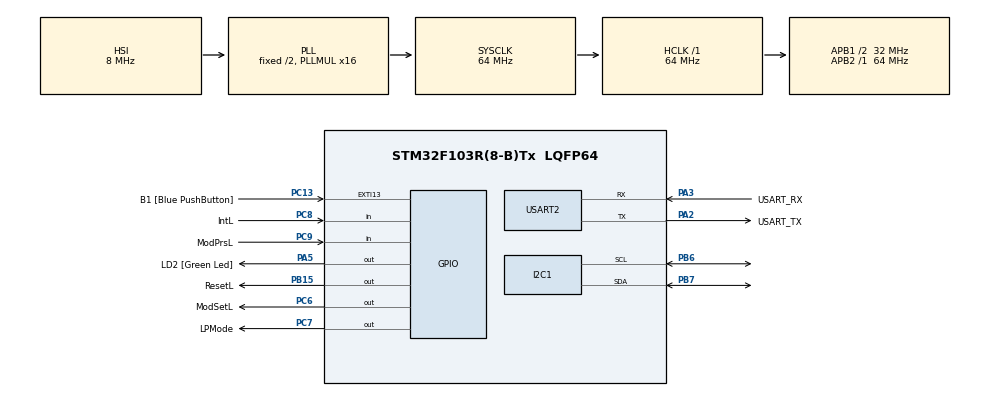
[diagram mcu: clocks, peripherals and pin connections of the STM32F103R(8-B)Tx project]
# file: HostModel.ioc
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Mcu.Family=STM32F1
Mcu.Name=STM32F103R(8-B)Tx
Mcu.Package=LQFP64
NVIC.EXTI15_10_IRQn=true\:0\:0\:false\:false\:true
NVIC.PriorityGroup=NVIC_PRIORITYGROUP_4
PA13.GPIO_Label=TMS
PA13.Mode=Serial_Wire
PA13.Signal=SYS_JTMS-SWDIO
PA14.GPIO_Label=TCK
PA14.Mode=Serial_Wire
PA14.Signal=SYS_JTCK-SWCLK
PA2.GPIO_Label=USART_TX
PA2.GPIO_Mode=GPIO_MODE_AF_PP
PA2.GPIO_PuPd=GPIO_NOPULL
PA2.GPIO_Speed=GPIO_SPEED_FREQ_LOW
PA2.Mode=Asynchronous
PA2.Signal=USART2_TX
PA3.GPIO_Label=USART_RX
PA3.GPIO_Mode=GPIO_MODE_AF_PP
PA3.GPIO_PuPd=GPIO_NOPULL
PA3.GPIO_Speed=GPIO_SPEED_FREQ_LOW
PA3.Mode=Asynchronous
PA3.Signal=USART2_RX
PA5.GPIO_Label=LD2 [Green Led]
PA5.GPIO_ModeDefaultOutputPP=GPIO_MODE_OUTPUT_PP
PA5.GPIO_PuPd=GPIO_NOPULL
PA5.GPIO_Speed=GPIO_SPEED_FREQ_LOW
PA5.Signal=GPIO_Output
PB15.GPIO_Label=ResetL
PB15.PinState=GPIO_PIN_SET
PB15.Signal=GPIO_Output
PB3.GPIO_Label=SWO
PB3.Signal=SYS_JTDO-TRACESWO
PB6.Mode=I2C
PB6.Signal=I2C1_SCL
PB7.Mode=I2C
PB7.Signal=I2C1_SDA
PC13-TAMPER-RTC.GPIO_Label=B1 [Blue PushButton]
PC13-TAMPER-RTC.GPIO_PuPd=GPIO_NOPULL
PC13-TAMPER-RTC.Signal=GPXTI13
PC14-OSC32_IN.Mode=LSE-External-Oscillator
PC14-OSC32_IN.Signal=RCC_OSC32_IN
PC15-OSC32_OUT.Mode=LSE-External-Oscillator
PC15-OSC32_OUT.Signal=RCC_OSC32_OUT
PC6.GPIO_Label=ModSetL
PC6.Signal=GPIO_Output
PC7.GPIO_Label=LPMode
PC7.PinState=GPIO_PIN_RESET
PC7.Signal=GPIO_Output
PC8.GPIO_Label=IntL
PC8.GPIO_PuPd=GPIO_PULLUP
PC8.Signal=GPIO_Input
PC9.GPIO_Label=ModPrsL
PC9.GPIO_PuPd=GPIO_PULLUP
PC9.Signal=GPIO_Input
PD0-OSC_IN.Mode=HSE-External-Clock-Source
PD0-OSC_IN.Signal=RCC_OSC_IN
PD1-OSC_OUT.Mode=HSE-External-Clock-Source
PD1-OSC_OUT.Signal=RCC_OSC_OUT
ProjectManager.HeapSize=0x200
ProjectManager.StackSize=0x400
ProjectManager.TargetToolchain=MDK-ARM V5
RCC.AHBFreq_Value=64000000
RCC.APB1CLKDivider=RCC_HCLK_DIV2
RCC.APB1Freq_Value=32000000
RCC.APB1TimFreq_Value=64000000
RCC.APB2Freq_Value=64000000
RCC.APB2TimFreq_Value=64000000
RCC.HCLKFreq_Value=64000000
RCC.PLLMUL=RCC_PLL_MUL16
RCC.RTCClockSelection=RCC_RTCCLKSOURCE_LSE
RCC.SYSCLKFreq_VALUE=64000000
RCC.SYSCLKSource=RCC_SYSCLKSOURCE_PLLCLK
RCC.USBFreq_Value=64000000
USART2.VirtualMode=VM_ASYNC
board=NUCLEO-F103RB

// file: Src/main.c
/**
  ******************************************************************************
  * File Name          : main.c
  * Description        : Main program body
  ******************************************************************************
  ** This notice applies to any and all portions of this file
  * that are not between comment pairs USER CODE BEGIN and
  * USER CODE END. Other portions of this file, whether
  * inserted by the user or by software development tools
  * are owned by their respective copyright owners.
  *
  * COPYRIGHT(c) 2017 STMicroelectronics
  *
  * Redistribution and use in source and binary forms, with or without modification,
  * are permitted provided that the following conditions are met:
  *   1. Redistributions of source code must retain the above copyright notice,
  *      this list of conditions and the following disclaimer.
  *   2. Redistributions in binary form must reproduce the above copyright notice,
  *      this list of conditions and the following disclaimer in the documentation
  *      and/or other materials provided with the distribution.
  *   3. Neither the name of STMicroelectronics nor the names of its contributors
  *      may be used to endorse or promote products derived from this software
  *      without specific prior written permission.
  *
  * THIS SOFTWARE IS PROVIDED BY THE COPYRIGHT HOLDERS AND CONTRIBUTORS "AS IS"
  * AND ANY EXPRESS OR IMPLIED WARRANTIES, INCLUDING, BUT NOT LIMITED TO, THE
  * IMPLIED WARRANTIES OF MERCHANTABILITY AND FITNESS FOR A PARTICULAR PURPOSE ARE
  * DISCLAIMED. IN NO EVENT SHALL THE COPYRIGHT HOLDER OR CONTRIBUTORS BE LIABLE
  * FOR ANY DIRECT, INDIRECT, INCIDENTAL, SPECIAL, EXEMPLARY, OR CONSEQUENTIAL
  * DAMAGES (INCLUDING, BUT NOT LIMITED TO, PROCUREMENT OF SUBSTITUTE GOODS OR
  * SERVICES; LOSS OF USE, DATA, OR PROFITS; OR BUSINESS INTERRUPTION) HOWEVER
  * CAUSED AND ON ANY THEORY OF LIABILITY, WHETHER IN CONTRACT, STRICT LIABILITY,
  * OR TORT (INCLUDING NEGLIGENCE OR OTHERWISE) ARISING IN ANY WAY OUT OF THE USE
  * OF THIS SOFTWARE, EVEN IF ADVISED OF THE POSSIBILITY OF SUCH DAMAGE.
  *
  ******************************************************************************
  */
#include "main.h"
#include "stm32f1xx_hal.h"

I2C_HandleTypeDef hi2c1;

UART_HandleTypeDef huart2;

/* USER CODE BEGIN PV */
/* Private variables ---------------------------------------------------------*/
#define RXBUFFERSIZE 256
uint8_t aRxBuffer[RXBUFFERSIZE];
uint8_t Device_Address = 0xA1;
/* USER CODE END PV */

void SystemClock_Config(void);
static void MX_GPIO_Init(void);
static void MX_USART2_UART_Init(void);
static void MX_I2C1_Init(void);

/* USER CODE BEGIN PFP */
/* Private function prototypes -----------------------------------------------*/
int  fputc(int ch, FILE *f);
void Myscanf(char* stringPointer);                          //把输入的字符串复制到字符串 inputString 中
void I2CResponse(char* stringPointer);                      //根据字符串的内容对寄存器做读写操作并给予反馈
void ResetToNULL(char* stringPointer, int Length);          //清空字符串
void I2C_Read_Mode(char* stringPointer);                    //读取模式
void I2C_Write_Mode(char* stringPointer);                   //写入模式
void I2C_Memmap_Mode(void);                                 //Memmap 模式
void I2C_Init_LD_BM_Mode(void);
void I2C_Address_Change(char* stringPointer);
void I2C_ModSet(void);
void I2C_ModNSet(void);
void Module_Reset(void);
void IsModluePresent(void);
void IsintL(void);
/* USER CODE END PFP */

int main(void)
{

  /* MCU Configuration----------------------------------------------------------*/

  /* Reset of all peripherals, Initializes the Flash interface and the Systick. */
  HAL_Init();

  /* Configure the system clock */
  SystemClock_Config();

  /* Initialize all configured peripherals */
  MX_GPIO_Init();
  MX_USART2_UART_Init();
  MX_I2C1_Init();

  /* USER CODE BEGIN 2 */
  char inputString[32] = {""};
	printf("\n------------------------------------------------------------------------------------------------------------\n");
	printf("Welcoome to the debug mode for GN2010, input command from the terminal according to the format given below\n");
	printf("Read a register : r(space)(register address in decimal)(space)\n");
	printf("Write a register : w(space)(register address in decimal)(space)(written value in hexadecimal)(space)\n");
	printf("Print the Memory Map: m\n");
	printf("Initiate: i\n");
	printf("Change the memory address: a(space)(register address in hexadecimal)(space)\n");
	printf("------------------------------------------------------------------------------------------------------------\n");
  /* USER CODE END 2 */

  /* Infinite loop */
  /* USER CODE BEGIN WHILE */
  while (1)
  {
		Myscanf(inputString);
		I2CResponse(inputString);
		ResetToNULL(inputString,32);
  /* USER CODE END WHILE */

  }

}

/** System Clock Configuration
*/
void SystemClock_Config(void)
{

  RCC_OscInitTypeDef RCC_OscInitStruct;
  RCC_ClkInitTypeDef RCC_ClkInitStruct;

    /**Initializes the CPU, AHB and APB busses clocks
    */
  RCC_OscInitStruct.OscillatorType = RCC_OSCILLATORTYPE_HSI;
  RCC_OscInitStruct.HSIState = RCC_HSI_ON;
  RCC_OscInitStruct.HSICalibrationValue = 16;
  RCC_OscInitStruct.PLL.PLLState = RCC_PLL_ON;
  RCC_OscInitStruct.PLL.PLLSource = RCC_PLLSOURCE_HSI_DIV2;
  RCC_OscInitStruct.PLL.PLLMUL = RCC_PLL_MUL16;
  if (HAL_RCC_OscConfig(&RCC_OscInitStruct) != HAL_OK)
  {
    _Error_Handler(__FILE__, __LINE__);
  }

    /**Initializes the CPU, AHB and APB busses clocks
    */
  RCC_ClkInitStruct.ClockType = RCC_CLOCKTYPE_HCLK|RCC_CLOCKTYPE_SYSCLK
                              |RCC_CLOCKTYPE_PCLK1|RCC_CLOCKTYPE_PCLK2;
  RCC_ClkInitStruct.SYSCLKSource = RCC_SYSCLKSOURCE_PLLCLK;
  RCC_ClkInitStruct.AHBCLKDivider = RCC_SYSCLK_DIV1;
  RCC_ClkInitStruct.APB1CLKDivider = RCC_HCLK_DIV2;
  RCC_ClkInitStruct.APB2CLKDivider = RCC_HCLK_DIV1;

  if (HAL_RCC_ClockConfig(&RCC_ClkInitStruct, FLASH_LATENCY_2) != HAL_OK)
  {
    _Error_Handler(__FILE__, __LINE__);
  }

    /**Configure the Systick interrupt time
    */
  HAL_SYSTICK_Config(HAL_RCC_GetHCLKFreq()/1000);

    /**Configure the Systick
    */
  HAL_SYSTICK_CLKSourceConfig(SYSTICK_CLKSOURCE_HCLK);

  /* SysTick_IRQn interrupt configuration */
  HAL_NVIC_SetPriority(SysTick_IRQn, 0, 0);
}

/* I2C1 init function */
static void MX_I2C1_Init(void)
{

  hi2c1.Instance = I2C1;
  hi2c1.Init.ClockSpeed = 100000;
  hi2c1.Init.DutyCycle = I2C_DUTYCYCLE_2;
  hi2c1.Init.OwnAddress1 = 0;
  hi2c1.Init.AddressingMode = I2C_ADDRESSINGMODE_7BIT;
  hi2c1.Init.DualAddressMode = I2C_DUALADDRESS_DISABLE;
  hi2c1.Init.OwnAddress2 = 0;
  hi2c1.Init.GeneralCallMode = I2C_GENERALCALL_DISABLE;
  hi2c1.Init.NoStretchMode = I2C_NOSTRETCH_DISABLE;
  if (HAL_I2C_Init(&hi2c1) != HAL_OK)
  {
    _Error_Handler(__FILE__, __LINE__);
  }

}

/* USART2 init function */
static void MX_USART2_UART_Init(void)
{

  huart2.Instance = USART2;
  huart2.Init.BaudRate = 115200;
  huart2.Init.WordLength = UART_WORDLENGTH_8B;
  huart2.Init.StopBits = UART_STOPBITS_1;
  huart2.Init.Parity = UART_PARITY_NONE;
  huart2.Init.Mode = UART_MODE_TX_RX;
  huart2.Init.HwFlowCtl = UART_HWCONTROL_NONE;
  huart2.Init.OverSampling = UART_OVERSAMPLING_16;
  if (HAL_UART_Init(&huart2) != HAL_OK)
  {
    _Error_Handler(__FILE__, __LINE__);
  }

}

/** Configure pins as
        * Analog
        * Input
        * Output
        * EVENT_OUT
        * EXTI
*/
static void MX_GPIO_Init(void)
{

  GPIO_InitTypeDef GPIO_InitStruct;

  /* GPIO Ports Clock Enable */
  __HAL_RCC_GPIOC_CLK_ENABLE();
  __HAL_RCC_GPIOD_CLK_ENABLE();
  __HAL_RCC_GPIOA_CLK_ENABLE();
  __HAL_RCC_GPIOB_CLK_ENABLE();

  /*Configure GPIO pin Output Level */
  HAL_GPIO_WritePin(LD2_GPIO_Port, LD2_Pin, GPIO_PIN_RESET);

  /*Configure GPIO pin Output Level */
  HAL_GPIO_WritePin(ResetL_GPIO_Port, ResetL_Pin, GPIO_PIN_SET);

  /*Configure GPIO pin Output Level */
  HAL_GPIO_WritePin(GPIOC, ModSetL_Pin|LPMode_Pin, GPIO_PIN_RESET);

  /*Configure GPIO pin : B1_Pin */
  GPIO_InitStruct.Pin = B1_Pin;
  GPIO_InitStruct.Mode = GPIO_MODE_IT_RISING;
  GPIO_InitStruct.Pull = GPIO_NOPULL;
  HAL_GPIO_Init(B1_GPIO_Port, &GPIO_InitStruct);

  /*Configure GPIO pin : LD2_Pin */
  GPIO_InitStruct.Pin = LD2_Pin;
  GPIO_InitStruct.Mode = GPIO_MODE_OUTPUT_PP;
  GPIO_InitStruct.Speed = GPIO_SPEED_FREQ_LOW;
  HAL_GPIO_Init(LD2_GPIO_Port, &GPIO_InitStruct);

  /*Configure GPIO pin : ResetL_Pin */
  GPIO_InitStruct.Pin = ResetL_Pin;
  GPIO_InitStruct.Mode = GPIO_MODE_OUTPUT_PP;
  GPIO_InitStruct.Speed = GPIO_SPEED_FREQ_LOW;
  HAL_GPIO_Init(ResetL_GPIO_Port, &GPIO_InitStruct);

  /*Configure GPIO pins : ModSetL_Pin LPMode_Pin */
  GPIO_InitStruct.Pin = ModSetL_Pin|LPMode_Pin;
  GPIO_InitStruct.Mode = GPIO_MODE_OUTPUT_PP;
  GPIO_InitStruct.Speed = GPIO_SPEED_FREQ_LOW;
  HAL_GPIO_Init(GPIOC, &GPIO_InitStruct);

  /*Configure GPIO pins : IntL_Pin ModPrsL_Pin */
  GPIO_InitStruct.Pin = IntL_Pin|ModPrsL_Pin;
  GPIO_InitStruct.Mode = GPIO_MODE_INPUT;
  GPIO_InitStruct.Pull = GPIO_PULLUP;
  HAL_GPIO_Init(GPIOC, &GPIO_InitStruct);

  /* EXTI interrupt init*/
  HAL_NVIC_SetPriority(EXTI15_10_IRQn, 0, 0);
  HAL_NVIC_EnableIRQ(EXTI15_10_IRQn);

}

/* USER CODE BEGIN 4 */
int fputc(int ch, FILE *f)
{
   HAL_UART_Transmit(&huart2, (uint8_t *)&ch, 1, 2);
	 return ch;
}
void Myscanf(char* stringPointer)
{
	printf("->");
	int i = 0;
	uint8_t u;
	while(1)
	{
	  while(__HAL_UART_GET_FLAG(&huart2,UART_FLAG_RXNE)!=SET);
		 HAL_UART_Receive(&huart2, &u, 1, 2);
		 if(u == 0x0D)
		 {
			 break;                 //回车键未被保存
		 }
		 else if(u == 0x08)
		 {
			 i--;
		 }
		 else
		 {
			 printf("%c",u);
			 stringPointer[i]= u;
			 i++;
		 }
	 }
   stringPointer[i] = 0x00;
}
void I2CResponse(char* stringPointer)
{
	if(stringPointer[0]=='r')
	{
		I2C_Read_Mode(stringPointer);
	}
	else if(stringPointer[0]=='w')
	{
	  I2C_Write_Mode(stringPointer);
	}
	else if((stringPointer[0] == 'm') && (stringPointer[1] == 'm'))
	{
		I2C_Memmap_Mode();
	}
	else if(stringPointer[0] == 'i')\
	{
		I2C_Init_LD_BM_Mode();
	}
	else if(stringPointer[0] == 'a')
	{
		I2C_Address_Change(stringPointer);
	}
		else if((stringPointer[0] == 'd') && (stringPointer[1] == 's'))
	{
		I2C_ModSet();
	}
	else if((stringPointer[0] == 'd') && (stringPointer[1] == 'n'))
	{
		I2C_ModNSet();
	}
	else if((stringPointer[0] == 's') && (stringPointer[1] == 'e'))
	{
		Module_Reset();
	}
	else if(stringPointer[0] == 't')
	{
		IsintL();
	}
	else
	{
		printf("Unlawful command\n");
	}
}
void ResetToNULL(char* stringPointer, int Length)
{
	int j = 0;
	while(j < Length)
	{
		stringPointer[j] = 0x00;
		j++;
	}
}
void I2C_Read_Mode(char* stringPointer)
{
	uint8_t regValue = 0x00;
	int ten = 1;
	uint16_t regAddress = 0;
	char numberString[6] = {""};
  int i = 2;
	while(1)
	{
		if(stringPointer[i] == 0x00)
		{
			numberString[i-2] = 0x00;
			break;
		}
		else                       //以后可以加一个输入保护措施
		{
			numberString[i-2] = stringPointer[i];
		}
		i++;
	}
	i--;
	while(i >= 2)
	{
		regAddress = regAddress + (numberString[i-2]-0x30)*ten;
		ten = ten*10;
		i--;
	}
  uint8_t status = HAL_I2C_Mem_Read(&hi2c1, (uint16_t)Device_Address,regAddress,I2C_MEMADD_SIZE_8BIT,&regValue,1,1000);
	if(status == 0)
	{
	  printf("Value of register %d is 0x%02X\n", regAddress, regValue);
	}
	else
	{
		printf("Read Error.\n");
	}
}
void I2C_Write_Mode(char* stringPointer)
{
  uint8_t regValue = 0x00;
	int ten = 1;
	uint16_t regAddress = 0;
	char numberString[6] = {""};
  int i = 2;
	while(1)
	{
		if(stringPointer[i] == 0x20)
		{
			numberString[i-2] = 0x00;
			break;
		}
		else                       //以后可以加一个输入保护措施
		{
			numberString[i-2] = stringPointer[i];
		}
		i++;
	}
	int j = i + 1;
	i--;
	while(i >= 2)
	{
		regAddress = regAddress + (numberString[i-2]-0x30)*ten;
		ten = ten*10;
		i--;
	}
	int k;
	int hex = 16;
	for(k = 0; k<2; k++)
	{
	  if((stringPointer[j+k] >= 0x30)&&(stringPointer[j+k] <= 0x39))
		 {
			 regValue = regValue + (stringPointer[j+k]-0x30)*hex;
		 }
		 else if((stringPointer[j+k] >= 0x41)&&(stringPointer[j+k] <= 0x46))
		 {
			 regValue = regValue + (stringPointer[j+k]-55)*hex;
		 }
		 else
		 {
			 printf("unlawful command\n");
		 }
		 hex = hex / 16;
	}
  uint8_t status = HAL_I2C_Mem_Write(&hi2c1, (uint16_t)Device_Address,(uint16_t)regAddress,I2C_MEMADD_SIZE_8BIT,&regValue,1,1000);
	if(status == 0)
	{
	  printf("Value of register %d has been changed to 0x%02X\n", regAddress, regValue);
	}
	else
	{
		printf("Write Error.\n");
	}
}
/**
  * @}
*/
void I2C_Memmap_Mode(void)
{
		uint8_t status = HAL_I2C_Mem_Read(&hi2c1, (uint16_t)Device_Address,(uint16_t)0,I2C_MEMADD_SIZE_8BIT,aRxBuffer,RXBUFFERSIZE,1000);
		if(status != 0)
		{
			printf("Read Error.\n");
			return;
		}
	  printf("Memory Map:\n");
	  printf("    0   1   2   3   4   5   6   7   8   9   A   B   C   D   E   F   \n");
	  int i = 0;
	  int j = 0;
    while(i <= 15)                        //Changed
		{
			printf("%X   ",i);
			j = 0;
	    while(j <= 15)
			{
	       printf("%02X  ",aRxBuffer[i*16+j]);
				 j++;
      }
			printf("\n");
			i++;
		}
}
void I2C_Init_LD_BM_Mode(void)
{
	 uint8_t a[8]= {0x30, 0x11, 0x40, 0x00,0x04,0x05,0x00,0x01};
   HAL_I2C_Mem_Write(&hi2c1, (uint16_t)Device_Address,14,I2C_MEMADD_SIZE_8BIT,a,1,1000);
	 HAL_I2C_Mem_Write(&hi2c1, (uint16_t)Device_Address,100,I2C_MEMADD_SIZE_8BIT,a+1,1,1000);
	 HAL_I2C_Mem_Write(&hi2c1, (uint16_t)Device_Address,113,I2C_MEMADD_SIZE_8BIT,a+2,1,1000);
	 HAL_I2C_Mem_Write(&hi2c1, (uint16_t)Device_Address,106,I2C_MEMADD_SIZE_8BIT,a+3,1,1000);
	 HAL_I2C_Mem_Write(&hi2c1, (uint16_t)Device_Address,107,I2C_MEMADD_SIZE_8BIT,a+4,1,1000);
	 HAL_I2C_Mem_Write(&hi2c1, (uint16_t)Device_Address,107,I2C_MEMADD_SIZE_8BIT,a+5,1,1000);
	 HAL_I2C_Mem_Write(&hi2c1, (uint16_t)Device_Address,87,I2C_MEMADD_SIZE_8BIT,a+6,1,1000);
	 HAL_I2C_Mem_Write(&hi2c1, (uint16_t)Device_Address,88,I2C_MEMADD_SIZE_8BIT,a+7,1,1000);
	 printf("Initilization Finished\n");;
}

void I2C_Address_Change(char* stringPointer)
{
	int devAddress = 0;
	int k;
	int hex = 16;
	for(k = 0; k<2; k++)
	{
	  if((stringPointer[k+2] >= 0x30)&&(stringPointer[k+2] <= 0x39))
		 {
			 devAddress = devAddress + (stringPointer[k+2]-0x30)*hex;
		 }
		 else if((stringPointer[k+2] >= 0x41)&&(stringPointer[k+2] <= 0x46))
		 {
			 devAddress = devAddress + (stringPointer[k+2]-55)*hex;
		 }
		 else
		 {
			 printf("unlawful command\n");
		 }
		 hex = hex / 16;
	}
	Device_Address = devAddress;
	printf("The address has been changed to 0x%02X\n",Device_Address);
}
void I2C_ModSet(void)
{
	HAL_GPIO_WritePin(ModSetL_GPIO_Port, ModSetL_Pin, GPIO_PIN_RESET);
	printf("Module has been selected\n");
  return;
}
void I2C_ModNSet(void)
{
	HAL_GPIO_WritePin(ModSetL_GPIO_Port, ModSetL_Pin, GPIO_PIN_SET);
	printf("Module has been deselected\n");
  return;
}
void Module_Reset(void)
{
	HAL_GPIO_WritePin(ResetL_GPIO_Port, ResetL_Pin, GPIO_PIN_RESET);
	HAL_Delay(2);
	HAL_GPIO_WritePin(ResetL_GPIO_Port, ResetL_Pin, GPIO_PIN_SET);
	printf("Reset finished.\n");
}
void IsintL(void)
{
	uint8_t u =HAL_GPIO_ReadPin(IntL_GPIO_Port, IntL_Pin);
	if(u == 0)
	{
		printf("interrupt asserted\n");
	}
	else
	{
		printf("interrupt deasserted\n");
	}
}
/* USER CODE END 4 */

void _Error_Handler(char * file, int line)
{
  while(1)
  {
  }
}

/************************ (C) COPYRIGHT STMicroelectronics *****END OF FILE****/
